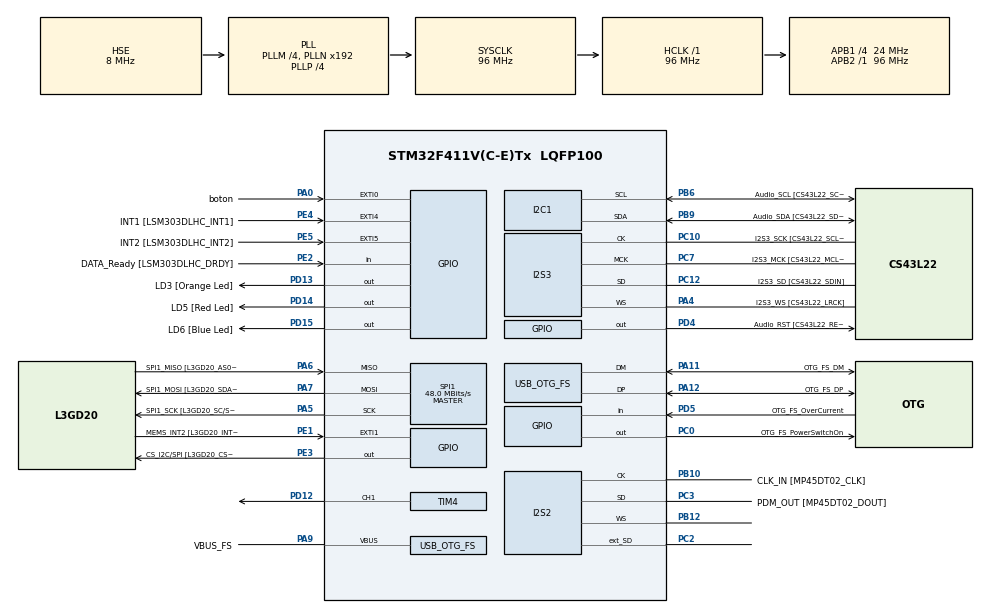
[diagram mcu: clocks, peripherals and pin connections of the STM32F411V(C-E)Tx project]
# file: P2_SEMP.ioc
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I2S2.AudioFreq=I2S_AUDIOFREQ_96K
I2S2.ErrorAudioFreq=0.15 %
I2S2.FullDuplexMode=I2S_FULLDUPLEXMODE_ENABLE
I2S2.Instance=SPI$Index
I2S2.RealAudioFreq=96.153 KHz
I2S2.VirtualMode=I2S_MODE_MASTER
I2S3.AudioFreq=I2S_AUDIOFREQ_96K
I2S3.ErrorAudioFreq=-6.99 %
I2S3.FullDuplexMode=I2S_FULLDUPLEXMODE_DISABLE
I2S3.Instance=SPI$Index
I2S3.RealAudioFreq=89.285 KHz
I2S3.VirtualMode=I2S_MODE_MASTER
Mcu.Family=STM32F4
Mcu.Name=STM32F411V(C-E)Tx
Mcu.Package=LQFP100
NVIC.EXTI0_IRQn=true\:0\:0\:false\:false\:true\:true\:true\:true
NVIC.OTG_FS_IRQn=true\:0\:0\:false\:false\:true\:true\:true\:true
NVIC.PriorityGroup=NVIC_PRIORITYGROUP_0
NVIC.TIM1_UP_TIM10_IRQn=true\:0\:0\:false\:false\:true\:true\:true\:true
NVIC.TIM2_IRQn=true\:0\:0\:false\:false\:true\:true\:true\:true
NVIC.TIM3_IRQn=true\:0\:0\:false\:false\:true\:true\:true\:true
PA0-WKUP.GPIO_Label=boton
PA0-WKUP.Signal=GPXTI0
PA10.GPIO_Label=OTG_FS_ID
PA10.Signal=USB_OTG_FS_ID
PA11.GPIO_Label=OTG_FS_DM
PA11.Mode=Host_Only
PA11.Signal=USB_OTG_FS_DM
PA12.GPIO_Label=OTG_FS_DP
PA12.Mode=Host_Only
PA12.Signal=USB_OTG_FS_DP
PA13.GPIO_Label=SWDIO
PA13.Mode=Serial_Wire
PA13.Signal=SYS_JTMS-SWDIO
PA14.GPIO_Label=SWCLK
PA14.Mode=Serial_Wire
PA14.Signal=SYS_JTCK-SWCLK
PA4.GPIO_Label=I2S3_WS [CS43L22_LRCK]
PA4.GPIO_Mode=GPIO_MODE_AF_PP
PA4.GPIO_PuPd=GPIO_NOPULL
PA4.GPIO_Speed=GPIO_SPEED_FREQ_LOW
PA4.Mode=Half_Duplex_Master
PA4.Signal=I2S3_WS
PA5.GPIO_Label=SPI1_SCK [L3GD20_SC/SPC]
PA5.Mode=Full_Duplex_Master
PA5.Signal=SPI1_SCK
PA6.GPIO_Label=SPI1_MISO [L3GD20_AS0/SDO]
PA6.Mode=Full_Duplex_Master
PA6.Signal=SPI1_MISO
PA7.GPIO_Label=SPI1_MOSI [L3GD20_SDA/SDI/SDO]
PA7.Mode=Full_Duplex_Master
PA7.Signal=SPI1_MOSI
PA9.GPIO_Label=VBUS_FS
PA9.Mode=Activate_VBUS
PA9.Signal=USB_OTG_FS_VBUS
PB10.GPIO_Label=CLK_IN [MP45DT02_CLK]
PB10.Mode=Full_Duplex_Master
PB10.Signal=I2S2_CK
PB12.Mode=Full_Duplex_Master
PB12.Signal=I2S2_WS
PB3.GPIO_Label=SWO
PB3.Signal=SYS_JTDO-SWO
PB6.GPIO_Label=Audio_SCL [CS43L22_SCL]
PB6.GPIO_Mode=GPIO_MODE_AF_OD
PB6.GPIO_Pu=GPIO_PULLUP
PB6.GPIO_PuPd=GPIO_NOPULL
PB6.GPIO_Speed=GPIO_SPEED_FREQ_LOW
PB6.Mode=I2C
PB6.Signal=I2C1_SCL
PB9.GPIO_Label=Audio_SDA [CS43L22_SDA]
PB9.GPIO_Mode=GPIO_MODE_AF_OD
PB9.GPIO_Pu=GPIO_PULLUP
PB9.GPIO_PuPd=GPIO_NOPULL
PB9.GPIO_Speed=GPIO_SPEED_FREQ_LOW
PB9.Mode=I2C
PB9.Signal=I2C1_SDA
PC0.GPIO_Label=OTG_FS_PowerSwitchOn
PC0.PinState=GPIO_PIN_SET
PC0.Signal=GPIO_Output
PC10.GPIO_Label=I2S3_SCK [CS43L22_SCLK]
PC10.GPIO_Mode=GPIO_MODE_AF_PP
PC10.GPIO_PuPd=GPIO_NOPULL
PC10.GPIO_Speed=GPIO_SPEED_FREQ_LOW
PC10.Mode=Half_Duplex_Master
PC10.Signal=I2S3_CK
PC12.GPIO_Label=I2S3_SD [CS43L22_SDIN]
PC12.GPIO_Mode=GPIO_MODE_AF_PP
PC12.GPIO_PuPd=GPIO_NOPULL
PC12.GPIO_Speed=GPIO_SPEED_FREQ_LOW
PC12.Mode=Half_Duplex_Master
PC12.Signal=I2S3_SD
PC14-OSC32_IN.GPIO_Label=PC14-OSC32_IN
PC14-OSC32_IN.Mode=LSE-External-Oscillator
PC14-OSC32_IN.Signal=RCC_OSC32_IN
PC15-OSC32_OUT.GPIO_Label=PC15-OSC32_OUT
PC15-OSC32_OUT.Mode=LSE-External-Oscillator
PC15-OSC32_OUT.Signal=RCC_OSC32_OUT
PC2.Mode=Full_Duplex_Master
PC2.Signal=I2S2_ext_SD
PC3.GPIO_Label=PDM_OUT [MP45DT02_DOUT]
PC3.Mode=Full_Duplex_Master
PC3.Signal=I2S2_SD
PC7.GPIO_Label=I2S3_MCK [CS43L22_MCLK]
PC7.GPIO_Mode=GPIO_MODE_AF_PP
PC7.GPIO_PuPd=GPIO_NOPULL
PC7.GPIO_Speed=GPIO_SPEED_FREQ_LOW
PC7.Mode=Master_Clock_Activated
PC7.Signal=I2S3_MCK
PD12.Signal=S_TIM4_CH1
PD13.GPIO_Label=LD3 [Orange Led]
PD13.GPIO_PuPd=GPIO_NOPULL
PD13.GPIO_Speed=GPIO_SPEED_FREQ_LOW
PD13.Signal=GPIO_Output
PD14.GPIO_Label=LD5 [Red Led]
PD14.GPIO_PuPd=GPIO_NOPULL
PD14.GPIO_Speed=GPIO_SPEED_FREQ_LOW
PD14.Signal=GPIO_Output
PD15.GPIO_Label=LD6 [Blue Led]
PD15.GPIO_PuPd=GPIO_NOPULL
PD15.GPIO_Speed=GPIO_SPEED_FREQ_LOW
PD15.Signal=GPIO_Output
PD4.GPIO_Label=Audio_RST [CS43L22_RESET]
PD4.Signal=GPIO_Output
PD5.GPIO_Label=OTG_FS_OverCurrent
PD5.Signal=GPIO_Input
PE1.GPIO_Label=MEMS_INT2 [L3GD20_INT2]
PE1.GPIO_ModeDefaultEXTI=GPIO_MODE_EVT_RISING
PE1.Signal=GPXTI1
PE2.GPIO_Label=DATA_Ready [LSM303DLHC_DRDY]
PE2.Signal=GPIO_Input
PE3.GPIO_Label=CS_I2C/SPI [L3GD20_CS_I2C/SPI]
PE3.Signal=GPIO_Output
PE4.GPIO_Label=INT1 [LSM303DLHC_INT1]
PE4.GPIO_ModeDefaultEXTI=GPIO_MODE_EVT_RISING
PE4.Signal=GPXTI4
PE5.GPIO_Label=INT2 [LSM303DLHC_INT2]
PE5.GPIO_ModeDefaultEXTI=GPIO_MODE_EVT_RISING
PE5.Signal=GPXTI5
PH0\ -\ OSC_IN.GPIO_Label=PH0-OSC_IN
PH0\ -\ OSC_IN.Mode=HSE-External-Oscillator
PH0\ -\ OSC_IN.Signal=RCC_OSC_IN
PH1\ -\ OSC_OUT.GPIO_Label=PH1-OSC_OUT
PH1\ -\ OSC_OUT.Mode=HSE-External-Oscillator
PH1\ -\ OSC_OUT.Signal=RCC_OSC_OUT
ProjectManager.HeapSize=0x200
ProjectManager.StackSize=0x400
ProjectManager.TargetToolchain=STM32CubeIDE
RCC.48MHZClocksFreq_Value=48000000
RCC.AHBFreq_Value=96000000
RCC.APB1CLKDivider=RCC_HCLK_DIV4
RCC.APB1Freq_Value=24000000
RCC.APB1TimFreq_Value=48000000
RCC.APB2Freq_Value=96000000
RCC.APB2TimFreq_Value=96000000
RCC.CortexFreq_Value=96000000
RCC.HCLKFreq_Value=96000000
RCC.HSE_Timout=10000
RCC.HSE_VALUE=8000000
RCC.HSI_VALUE=16000000
RCC.PLLI2SM=5
RCC.PLLI2SN=200
RCC.PLLM=4
RCC.PLLP=RCC_PLLP_DIV4
RCC.PLLQ=8
RCC.SYSCLKFreq_VALUE=96000000
RCC.SYSCLKSource=RCC_SYSCLKSOURCE_PLLCLK
RCC.VCOOutputFreq_Value=384000000
SH.S_TIM4_CH1.0=TIM4_CH1,PWM Generation1 CH1
SPI1.BaudRatePrescaler=SPI_BAUDRATEPRESCALER_2
SPI1.CalculateBaudRate=48.0 MBits/s
SPI1.Direction=SPI_DIRECTION_2LINES
SPI1.Mode=SPI_MODE_MASTER
SPI1.VirtualType=VM_MASTER
STMicroelectronics.X-CUBE-ALGOBUILD.1.3.0.LibraryCcDSPOoLibraryJjDSPOoLibrary=true
TIM10.Period=50
TIM10.Prescaler=9599
TIM2.Period=5000
TIM2.Prescaler=9599
TIM3.Period=10000
TIM3.Prescaler=9599
TIM4.Channel-PWM\ Generation1\ CH1=TIM_CHANNEL_1
TIM4.Period=9999
TIM4.Prescaler=4799
USB_HOST.BSP.number=1
USB_HOST.USBH_HandleTypeDef=hUsbHostFS
USB_HOST.VirtualModeFS=Cdc
USB_HOST0.BSP.STBoard=false
USB_HOST0.BSP.api=Unknown
USB_HOST0.BSP.instance=PC0
USB_HOST0.BSP.ip=GPIO
USB_HOST0.BSP.mode=Output
USB_HOST0.BSP.name=Drive_VBUS_FS
USB_HOST0.BSP.solution=PC0
USB_OTG_FS.VirtualMode=Host_Only
USB_OTG_FS.phy_itface=HCD_PHY_EMBEDDED
VP_STMicroelectronics.X-CUBE-ALGOBUILD_VS_DSPOoLibraryJjLibrary_1.3.0_1.3.0.Mode=DSPOoLibraryJjLibrary
VP_TIM10_VS_ClockSourceINT.Mode=Enable_Timer
VP_TIM2_VS_ClockSourceINT.Mode=Internal
VP_TIM3_VS_ClockSourceINT.Mode=Internal
VP_USB_HOST_VS_USB_HOST_CDC_FS.Mode=CDC_FS
board=STM32F411E-DISCO

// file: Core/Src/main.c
/* USER CODE BEGIN Header */
/**
  ******************************************************************************
  * @file           : main.c
  * @brief          : Main program body
  ******************************************************************************
  * @attention
  *
  * Copyright (c) 2023 STMicroelectronics.
  * All rights reserved.
  *
  * This software is licensed under terms that can be found in the LICENSE file
  * in the root directory of this software component.
  * If no LICENSE file comes with this software, it is provided AS-IS.
  *
  ******************************************************************************
  */
/* USER CODE END Header */
#include "main.h"
#include "i2c.h"
#include "i2s.h"
#include "spi.h"
#include "tim.h"
#include "usb_host.h"
#include "gpio.h"

/* USER CODE BEGIN Includes */
#include "stdlib.h"
#include "fsm.h"
#include "arm_math.h"
#include "stm32f411e_discovery_accelerometer.h"
#include <float.h>
#include <stdio.h>

/* USER CODE END Includes */

/* USER CODE BEGIN PD */
#define TH_ACC_HIGH 10000
/* USER CODE END PD */

/* USER CODE BEGIN PV */
volatile int boton = 0;
//volatile int state = 1;
volatile int SA = 0;
volatile int delta=0;
volatile int tiempo_t2 = 0; //500ms
volatile int tiempo_t1 = 0; //1s
volatile int tiempo_t3 = 0; //5ms
static int muestras = 0;
static float maximo=0;
static float minimo=FLT_MAX;

/* USER CODE END PV */

void SystemClock_Config(void);
void PeriphCommonClock_Config(void);
void MX_USB_HOST_Process(void);

/* USER CODE BEGIN PFP */
volatile int state = 1;
static int boton_sin_pulsar (fsm_t* this);
static int boton_pulsado (fsm_t* this);
static int empieza_muestras (fsm_t* this);
static int muestras_cumplidas (fsm_t* this);
//static int boton_espera_sinpulsar (fsm_t* this);
//static int boton_espera_pulsado (fsm_t* this);
static int Sistema_Activo (fsm_t* this);
static int Sistema_No_Activo (fsm_t* this);
static int LED_azul_empieza (fsm_t* this);
static int LED_azul_parpadeo (fsm_t* this);
static int LED_azul_termina (fsm_t* this);
static int esta_parado (fsm_t* this);
static int esta_andando (fsm_t* this);
static int esta_aviso (fsm_t* this);
//static int sistema_off (fsm_t* this);
static void funcion_LED_azul (fsm_t* this);
static void funcion_LED_azul_empieza (fsm_t* this);
static void funcion_LED_azul_encendido (fsm_t* this);
static void funcion_LED_azul_apagado (fsm_t* this);
static void funcion_sistemaoff (fsm_t* this);
static void funcion_muestreo (fsm_t* this);
static void funcion_terminar (fsm_t* this);
static void funcion_andando (fsm_t* this);
static void funcion_aviso (fsm_t* this);
static void funcion_parado (fsm_t* this);
static void funcion_comparar_calculo (fsm_t* this);
static void funcion_calculo (fsm_t* this);
/* USER CODE END PFP */

/* USER CODE BEGIN 0 */
enum muestreoP1_state {
  IDLE,
  INICIO_MUESTREO,
  MUESTREO,
};

enum LEDazul_state {
  IDLE_LED,
  REBOTE_INICIO,
  LEDAZUL_ON,
  REBOTE_FINAL,
};

enum P1_state {
  IDLE2,
  PARADO,
  ANDANDO,
  AVISO,
};

static int boton_pulsado (fsm_t* this) //boton a true
{
	if (boton == 1)
	{
		return 1;
	}
	return 0;
}

static int boton_sin_pulsar (fsm_t* this) //boton a false
{
	if (boton == 1)
	{
		return 1;
	}
	return 0;
}

static int LED_azul_empieza (fsm_t* this)
{
	if (tiempo_t2 == 1)//&& boton == 1) //boton a true y 500ms cumplidos -> Sistema activo
	{
		return 1;
	}
	return 0;
}

static int LED_azul_parpadeo (fsm_t* this)
{
	if (tiempo_t1 == 1) // 1s cumplido->LED azul parpadea
	{
		return 1;
	}
	return 0;
}

static int LED_azul_termina (fsm_t* this)
{
	if(tiempo_t2 == 1) //boton == 0 boton sin pulsar (sistema off) y 500 ms cumplidos
	{
		return 1;
	}
	return 0;
}

static int Sistema_Activo (fsm_t* this)
{
	if (SA == 1)
	{
		return 1;
	}
	return 0;
}

static int empieza_muestras (fsm_t* this)
{
	if(tiempo_t3 == 1)
	{
		return 1;
	}
	return 0;
}

static int muestras_cumplidas (fsm_t* this)
{
	if(muestras == 200)
	{
		return 1;
	}
	return 0;
}

static int Sistema_No_Activo (fsm_t* this)
{
	if (SA == 0)
	{
		return 1;
	}
	return 0;
}

static void funcion_LED_azul (fsm_t* this)
{
	tiempo_t2=0;
	tiempo_t1=0;
	HAL_TIM_Base_Start_IT(&htim2); //500 ms
	HAL_TIM_Base_Start_IT(&htim3); //1 s
}

static void funcion_LED_azul_empieza (fsm_t* this)
{
	boton=0;
	tiempo_t2=0;
	SA=1;
}

static void funcion_LED_azul_encendido (fsm_t* this)
{
	tiempo_t1=0;
	HAL_GPIO_TogglePin(GPIOD,GPIO_PIN_15);//Led azul
}

static void funcion_LED_azul_apagado (fsm_t* this)
{
	boton=0;
	tiempo_t2=0;
	SA=0;
	HAL_TIM_Base_Stop_IT(&htim3);//timer 3 (1s) zero
	HAL_TIM_Base_Stop_IT(&htim2);//timer 2 (500ms) zero
	HAL_GPIO_WritePin(GPIOD, (uint16_t) LD6_Pin,0); //Led azul off
}

static void funcion_muestreo (fsm_t* this)
{
  tiempo_t3=0;
  HAL_TIM_Base_Start_IT(&htim10); //5ms
}

static void funcion_comparar_calculo (fsm_t* this)
{
	float32_t sensorx;
	float32_t sensory;
	float32_t sensorz;
	float32_t modulo;
	int16_t pDataXYZ[3];

	muestras++;
	tiempo_t3=0;
	BSP_ACCELERO_GetXYZ(pDataXYZ);

	sensorx = 1.0*pDataXYZ[0]; //1.0* para convertir a float
	sensory = 1.0*pDataXYZ[1];
	sensorz = 1.0*pDataXYZ[2];
	float32_t sc = (sensorx*sensorx) + (sensory*sensory) + (sensorz*sensorz);
	arm_sqrt_f32(sc, &modulo);
	if(modulo>=maximo)
	{
		maximo=modulo;
	}
	else if(modulo<=minimo)
	{
		minimo=modulo;
	}
}
static void funcion_calculo (fsm_t* this)
{
	delta=maximo-minimo;
	maximo = 0;
	minimo = FLT_MAX;
	muestras = 0;
}

static int esta_parado (fsm_t* this)
{
  if (muestras>=200 && delta < TH_ACC_HIGH)
  {
	  return 1;
  }
  else
  {
	  return 0;
  }
}

static int esta_andando (fsm_t* this)
{
	if (muestras>=200 && delta > TH_ACC_HIGH)
	{
	  return 1;
	}
	else
	{
	  return 0;
	}
}

static int esta_aviso (fsm_t* this)
{
  if (muestras>=200 && delta < TH_ACC_HIGH)
  {
	 return 1;
  }
  else
  {
	 return 0;
  }
}

static void funcion_sistemaoff (fsm_t* this)
{
	HAL_TIM_PWM_Stop(&htim4, TIM_CHANNEL_1); //timer 4 pwm a zero
	__HAL_TIM_SET_COMPARE(&htim4, TIM_CHANNEL_1, 0); // brillo a 0??
}

static void funcion_terminar (fsm_t* this)
{
	  HAL_TIM_Base_Stop_IT(&htim10);//timer 10 (5ms) a zero
	  muestras=0;
	  maximo=0;
	  minimo=FLT_MAX;
	  SA=0;
	  boton=0;
}

static void funcion_andando (fsm_t* this)
{
	HAL_TIM_PWM_Start(&htim4, TIM_CHANNEL_1);
	__HAL_TIM_SET_COMPARE(&htim4, TIM_CHANNEL_1, 5999); //60 a 10 brillo 5999
}
static void funcion_aviso (fsm_t* this)
{
	HAL_TIM_PWM_Start(&htim4, TIM_CHANNEL_1);
	__HAL_TIM_SET_COMPARE(&htim4, TIM_CHANNEL_1, 89999); //90 a 100 brillo 8999
}
static void funcion_parado (fsm_t* this)
{
	HAL_TIM_PWM_Start(&htim4, TIM_CHANNEL_1);
	__HAL_TIM_SET_COMPARE(&htim4, TIM_CHANNEL_1, 2999); //30 a 5 brillo 2999
}

static fsm_trans_t LEDazul[] = {
	{IDLE_LED, 		boton_pulsado, 	    REBOTE_INICIO,	funcion_LED_azul},
	{REBOTE_INICIO,	LED_azul_empieza, 	LEDAZUL_ON,		funcion_LED_azul_empieza},
	{LEDAZUL_ON, 	LED_azul_parpadeo, 	LEDAZUL_ON,		funcion_LED_azul_encendido},
	{LEDAZUL_ON, 	boton_sin_pulsar, 	REBOTE_FINAL, 	funcion_LED_azul},
	{REBOTE_FINAL, 	LED_azul_termina, 	IDLE_LED, 		funcion_LED_azul_apagado},
	{-1, NULL, -1, NULL },
	};

static fsm_trans_t muestreoP1[] = {
	{ IDLE,   			Sistema_Activo, 			MUESTREO,  	funcion_muestreo },
	{ MUESTREO, 		empieza_muestras, 			MUESTREO,  	funcion_comparar_calculo },
	{ MUESTREO, 		muestras_cumplidas, 		MUESTREO,  	funcion_calculo },
	{ MUESTREO, 		Sistema_No_Activo, 			IDLE,  	funcion_terminar},
	{-1, NULL, -1, NULL },
	};

static fsm_trans_t P1[] = {
    { IDLE2,    esta_parado, 		PARADO,  funcion_parado },
	{ PARADO,   esta_andando, 		ANDANDO, funcion_andando },
	{ ANDANDO,  esta_aviso, 		AVISO,   funcion_aviso },
	{ ANDANDO,  esta_andando, 		ANDANDO, funcion_andando },
	{ AVISO,   	esta_parado, 		PARADO,  funcion_parado },
	{ AVISO,    esta_andando, 		ANDANDO, funcion_andando },
	{ PARADO,   esta_parado, 		PARADO,  funcion_parado },
	{ PARADO,   Sistema_No_Activo, 	IDLE2,   funcion_sistemaoff },
	{ ANDANDO,   Sistema_No_Activo, 	IDLE2,   funcion_sistemaoff },
	{ AVISO,   Sistema_No_Activo, 	IDLE2,   funcion_sistemaoff },
	{-1, NULL, -1, NULL },
	};
/* USER CODE END 0 */

int main(void)
{
  /* USER CODE BEGIN 1 */
 	fsm_t * LEDazul_fsm = fsm_new (LEDazul);
	fsm_t * muestreoP1_fsm = fsm_new (muestreoP1);
  	fsm_t * P1_fsm = fsm_new (P1);
  /* USER CODE END 1 */

  /* MCU Configuration--------------------------------------------------------*/

  /* Reset of all peripherals, Initializes the Flash interface and the Systick. */
  HAL_Init();

  /* Configure the system clock */
  SystemClock_Config();

/* Configure the peripherals common clocks */
  PeriphCommonClock_Config();

  /* USER CODE BEGIN SysInit */
  BSP_ACCELERO_Init();
  /* USER CODE END SysInit */

  /* Initialize all configured peripherals */
  MX_GPIO_Init();
  MX_I2C1_Init();
  MX_I2S2_Init();
  MX_I2S3_Init();
  MX_SPI1_Init();
  MX_USB_HOST_Init();
  MX_TIM3_Init();
  MX_TIM2_Init();
  MX_TIM4_Init();
  MX_TIM10_Init();

  /* Infinite loop */
  /* USER CODE BEGIN WHILE */
  while (1)
  {
	fsm_fire (LEDazul_fsm);
	fsm_fire (muestreoP1_fsm);
   	fsm_fire (P1_fsm);
    /* USER CODE END WHILE */
    MX_USB_HOST_Process();

  }
}

void SystemClock_Config(void)
{
  RCC_OscInitTypeDef RCC_OscInitStruct = {0};
  RCC_ClkInitTypeDef RCC_ClkInitStruct = {0};

  /** Configure the main internal regulator output voltage
  */
  __HAL_RCC_PWR_CLK_ENABLE();
  __HAL_PWR_VOLTAGESCALING_CONFIG(PWR_REGULATOR_VOLTAGE_SCALE1);

  /** Initializes the RCC Oscillators according to the specified parameters
  * in the RCC_OscInitTypeDef structure.
  */
  RCC_OscInitStruct.OscillatorType = RCC_OSCILLATORTYPE_HSE;
  RCC_OscInitStruct.HSEState = RCC_HSE_ON;
  RCC_OscInitStruct.PLL.PLLState = RCC_PLL_ON;
  RCC_OscInitStruct.PLL.PLLSource = RCC_PLLSOURCE_HSE;
  RCC_OscInitStruct.PLL.PLLM = 4;
  RCC_OscInitStruct.PLL.PLLN = 192;
  RCC_OscInitStruct.PLL.PLLP = RCC_PLLP_DIV4;
  RCC_OscInitStruct.PLL.PLLQ = 8;
  if (HAL_RCC_OscConfig(&RCC_OscInitStruct) != HAL_OK)
  {
    Error_Handler();
  }

  /** Initializes the CPU, AHB and APB buses clocks
  */
  RCC_ClkInitStruct.ClockType = RCC_CLOCKTYPE_HCLK|RCC_CLOCKTYPE_SYSCLK
                              |RCC_CLOCKTYPE_PCLK1|RCC_CLOCKTYPE_PCLK2;
  RCC_ClkInitStruct.SYSCLKSource = RCC_SYSCLKSOURCE_PLLCLK;
  RCC_ClkInitStruct.AHBCLKDivider = RCC_SYSCLK_DIV1;
  RCC_ClkInitStruct.APB1CLKDivider = RCC_HCLK_DIV4;
  RCC_ClkInitStruct.APB2CLKDivider = RCC_HCLK_DIV1;

  if (HAL_RCC_ClockConfig(&RCC_ClkInitStruct, FLASH_LATENCY_3) != HAL_OK)
  {
    Error_Handler();
  }
}

void PeriphCommonClock_Config(void)
{
  RCC_PeriphCLKInitTypeDef PeriphClkInitStruct = {0};

  /** Initializes the peripherals clock
  */
  PeriphClkInitStruct.PeriphClockSelection = RCC_PERIPHCLK_I2S;
  PeriphClkInitStruct.PLLI2S.PLLI2SN = 200;
  PeriphClkInitStruct.PLLI2S.PLLI2SM = 5;
  PeriphClkInitStruct.PLLI2S.PLLI2SR = 2;
  if (HAL_RCCEx_PeriphCLKConfig(&PeriphClkInitStruct) != HAL_OK)
  {
    Error_Handler();
  }
}

/* USER CODE BEGIN 4 */
void HAL_TIM_PeriodElapsedCallback(TIM_HandleTypeDef *htim)
{
	if(htim == &htim2)
	{
		tiempo_t2=1; //500ms cumplido
	}
	if(htim == &htim3)
	{
		tiempo_t1=1; //1s cumplido
	}
	if(htim == &htim10)
	{
		tiempo_t3=1; //5ms cumplido
	}
}
void HAL_GPIO_EXTI_Callback(uint16_t GPIO_Pin) // para el boton interrupciones
{
  if(GPIO_Pin == GPIO_PIN_0)
  {
	  boton=1;
  }
}
/* USER CODE END 4 */

void Error_Handler(void)
{
  __disable_irq();
  while (1)
  {
  }
}
